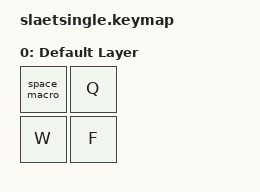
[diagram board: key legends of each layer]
#include <behaviors.dtsi>
#include <dt-bindings/zmk/keys.h>
#include <dt-bindings/zmk/bt.h>
#include <dt-bindings/zmk/ext_power.h>
/ {
    macros {
        space_macro: space_macro {
            compatible = "zmk,behavior-macro";
            #binding-cells = <0>;
            wait-ms = <30000>;
            tap-ms = <40>; 
            bindings
                = <&kp SPACE>
                , <&kp SPACE>
                , <&kp SPACE>
                , <&kp SPACE>
                , <&kp SPACE>
                , <&kp SPACE>
                , <&kp SPACE>
                , <&kp SPACE>
                , <&kp SPACE>
                , <&kp SPACE>
                , <&kp SPACE>
                , <&kp SPACE>
                , <&kp SPACE>
                , <&kp SPACE>
                , <&kp SPACE>
                , <&kp SPACE>
                , <&kp SPACE>
                , <&kp SPACE>
                , <&kp SPACE>
                , <&kp SPACE>
                , <&kp SPACE>
                , <&kp SPACE>
                , <&kp SPACE>
                , <&kp SPACE>
                , <&kp SPACE>
                , <&kp SPACE>
                , <&kp SPACE>
                , <&kp SPACE>
                , <&kp SPACE>
                , <&kp SPACE>
                , <&kp SPACE>
                , <&kp SPACE>
                , <&kp SPACE>
                , <&kp SPACE>
                , <&kp SPACE>
                , <&kp SPACE>
                , <&kp SPACE>
                , <&kp SPACE>
                , <&kp SPACE>
                , <&kp SPACE>
                , <&kp SPACE>
                , <&kp SPACE>
                , <&kp SPACE>
                , <&kp SPACE>
                , <&kp SPACE>
                , <&kp SPACE>
                , <&kp SPACE>
                , <&kp SPACE>
                , <&kp SPACE>
                , <&kp SPACE>
                , <&kp SPACE>
                , <&kp SPACE>
                , <&kp SPACE>
                , <&kp SPACE>
                , <&kp SPACE>
                , <&kp SPACE>
                , <&kp SPACE>
                , <&kp SPACE>
                , <&kp SPACE>
                , <&kp SPACE>
                , <&kp SPACE>
                ;
        };
    };

    keymap {
        compatible = "zmk,keymap";

        default_layer {
            display-name = "Default Layer";
            bindings = <
                &space_macro &kp Q &kp W &kp F
           >;

        };
    };
};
